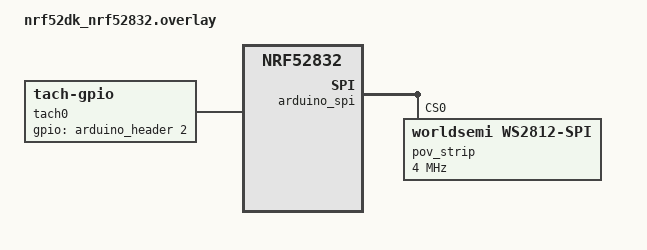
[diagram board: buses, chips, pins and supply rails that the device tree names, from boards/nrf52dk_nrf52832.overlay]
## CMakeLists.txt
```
cmake_minimum_required(VERSION 3.20.0)

find_package(Zephyr REQUIRED HINTS $ENV{ZEPHYR_BASE})
project(pov_led_strip)

target_sources(app PRIVATE src/main.c)
```

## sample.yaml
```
sample:
  description: Persistence-of-vision LED strip display demo
  name: POV LED strip
common:
  tags:
    - display
    - led
    - sensor
  harness: console
  harness_config:
    type: one_line
    regex: "POV pattern frame"
```

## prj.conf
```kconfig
CONFIG_LOG=y
CONFIG_DISPLAY=y
CONFIG_SENSOR=y
CONFIG_LED_STRIP_POV=y
CONFIG_WS2812_STRIP_SPI=y
CONFIG_HEAP_MEM_POOL_SIZE=8192
CONFIG_MAIN_STACK_SIZE=2048
```

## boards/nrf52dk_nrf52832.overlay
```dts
#include <zephyr/dt-bindings/display/panel.h>
#include <zephyr/dt-bindings/led/led.h>

&arduino_spi {
	compatible = "nordic,nrf-spim";
	status = "okay";

	pov_strip: ws2812@0 {
		compatible = "worldsemi,ws2812-spi";
		reg = <0>;
		spi-max-frequency = <4000000>;
		chain-length = <16>;
		color-mapping = <LED_COLOR_ID_GREEN LED_COLOR_ID_RED LED_COLOR_ID_BLUE>;
		spi-zero-frame = <0x40>;
		spi-one-frame = <0x70>;
	};
};

/ {
	aliases {
		led-strip = &pov_strip;
	};

	chosen {
		zephyr,display = &pov_display;
	};

	tach0: tachometer {
		compatible = "zephyr,tach-gpio";
		gpios = <&arduino_header 2 GPIO_ACTIVE_HIGH>;
		timeout-ms = <500>;
	};

	pov_display: pov_display {
		compatible = "led-strip-pov";
		status = "okay";
		led-strip = <&pov_strip>;
		tachometer = <&tach0>;
		width = <64>;
		height = <16>;
		pixel-format = <PANEL_PIXEL_FORMAT_RGB_888>;
		default-rpm = <600>;
		rpm-timeout-ms = <750>;
		sensor-poll-ms = <100>;
	};
};
```

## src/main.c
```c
/*
 * SPDX-License-Identifier: Apache-2.0
 */

#include <zephyr/kernel.h>
#include <zephyr/device.h>
#include <zephyr/drivers/display.h>
#include <zephyr/logging/log.h>
#include <zephyr/sys/util.h>

#include <string.h>

LOG_MODULE_REGISTER(pov_sample, CONFIG_LOG_DEFAULT_LEVEL);

static void fill_pattern(uint8_t *buf, const struct display_capabilities *caps, uint32_t phase)
{
	const uint16_t width = caps->x_resolution;
	const uint16_t height = caps->y_resolution;
	const bool argb = (caps->current_pixel_format == PIXEL_FORMAT_ARGB_8888);
	const size_t bpp = argb ? 4U : 3U;

	for (uint16_t y = 0; y < height; y++) {
		for (uint16_t x = 0; x < width; x++) {
			const uint8_t r = (uint8_t)((x * 255U) / MAX(width, 1U));
			const uint8_t g = (uint8_t)(((y + phase) * 255U) / MAX(height, 1U));
			const uint8_t b = (uint8_t)(((x + phase) * 17U) & 0xFF);
			size_t idx = ((size_t)y * width + x) * bpp;

			if (argb) {
				uint32_t pixel = 0xFF000000U | ((uint32_t)r << 16) | ((uint32_t)g << 8) | b;

				memcpy(&buf[idx], &pixel, sizeof(pixel));
			} else {
				buf[idx] = r;
				buf[idx + 1] = g;
				buf[idx + 2] = b;
			}
		}
	}
}

int main(void)
{
	const struct device *display = DEVICE_DT_GET(DT_CHOSEN(zephyr_display));
	struct display_capabilities caps;
	struct display_buffer_descriptor desc;
	uint8_t *frame;
	size_t bpp;
	uint32_t phase = 0U;
	int ret;

	if (!device_is_ready(display)) {
		LOG_ERR("Display device is not ready");
		return 0;
	}

	display_get_capabilities(display, &caps);

	bpp = (caps.current_pixel_format == PIXEL_FORMAT_ARGB_8888) ? 4U : 3U;
	memset(&desc, 0, sizeof(desc));
	desc.width = caps.x_resolution;
	desc.height = caps.y_resolution;
	desc.pitch = caps.x_resolution;
	desc.buf_size = (size_t)desc.width * desc.height * bpp;

	frame = k_malloc(desc.buf_size);
	if (frame == NULL) {
		LOG_ERR("Unable to allocate %zu-byte framebuffer", desc.buf_size);
		return 0;
	}

	ret = display_blanking_off(display);
	if (ret < 0) {
		LOG_WRN("Failed to disable blanking (%d)", ret);
	}

	LOG_INF("POV pattern frame generator started (%ux%u)",
		caps.x_resolution, caps.y_resolution);

	while (true) {
		fill_pattern(frame, &caps, phase);

		ret = display_write(display, 0, 0, &desc, frame);
		if (ret < 0) {
			LOG_ERR("display_write failed: %d", ret);
			break;
		}

		LOG_INF("POV pattern frame %u", phase);
		phase++;
		k_msleep(100);
	}

	k_free(frame);

	return 0;
}
```
